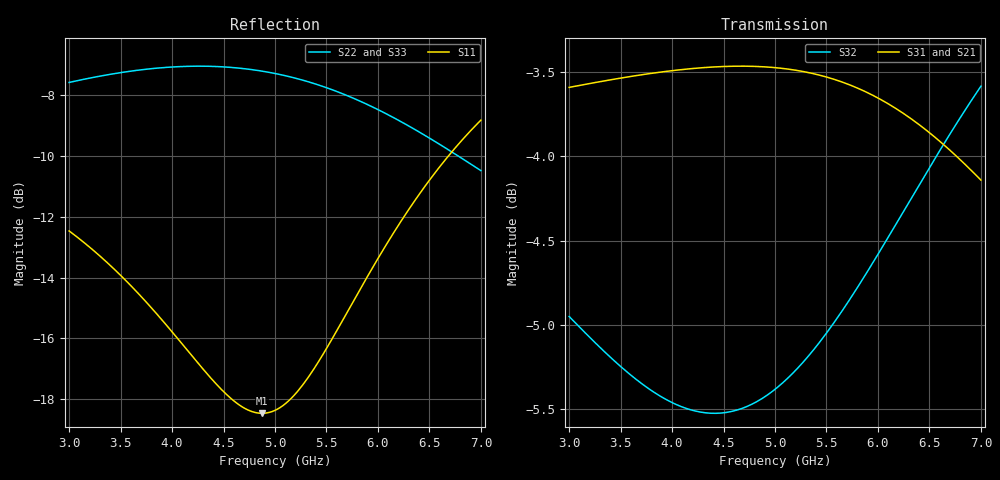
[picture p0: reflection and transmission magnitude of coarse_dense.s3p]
! yapnr rf: r1t-osh-w-w-nom, footprint re-simulated (optimization grid)
! spec sha256 1b39f7667ebf57d47b12464abbcca90e938fef1b750bc38b06a7eb75a527d4ee
! 3 ports renormalized to 50 ohm, e^(+jwt) convention
# GHz S RI R 50
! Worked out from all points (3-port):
!   161 points, 3 GHz to 7 GHz, reference 50 ohm
!   strongest paths, dB at 3 GHz, 4 GHz, 5 GHz, 6 GHz, 7 GHz:
!     S31: -3.6, -3.5, -3.5, -3.7, -4.1
!     S21: -3.6, -3.5, -3.5, -3.7, -4.1
!     S32: -4.9, -5.5, -5.4, -4.6, -3.6
!   lowest |S11| = -18.5 dB at 4.875 GHz (marker M1), VSWR 1.27, Z = 61.4 + j6.95 ohm
!   |S11| at or under -10 dB: start of sweep to 6.687 GHz
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3  -0.1305 0.199  -0.3197 -0.5796  -0.3197 -0.5796
   -0.3193 -0.579  0.1932 0.3695  -0.4309 -0.3664
   -0.3193 -0.579  -0.4309 -0.3664  0.1932 0.3695
3.475  -0.0665 0.1919  -0.5018 -0.4384  -0.5018 -0.4384
       -0.5005 -0.4381  0.3297 0.2791  -0.5146 -0.1871
       -0.5005 -0.4381  -0.5146 -0.1871  0.3297 0.2791
4  0.00464 0.1625  -0.6348 -0.2139  -0.6348 -0.2139
   -0.6332 -0.215  0.4262 0.1172  -0.5332 0.0157
   -0.6332 -0.215  -0.5332 0.0157  0.4262 0.1172
4.45  0.0613 0.1172  -0.671 0.0121  -0.671 0.0121
      -0.6705 0.00954  0.4402 -0.0465  -0.4986 0.1785
      -0.6705 0.00954  -0.4986 0.1785  0.4402 -0.0465
4.875  0.1056 0.0558  -0.6303 0.2276  -0.6303 0.2276
       -0.6318 0.2247  0.3904 -0.1922  -0.4296 0.3187
       -0.6318 0.2247  -0.4296 0.3187  0.3904 -0.1922
5  0.1158 0.0343  -0.6044 0.2875  -0.6044 0.2875
   -0.6066 0.2848  0.3653 -0.2294  -0.4027 0.3571
   -0.6066 0.2848  -0.4027 0.3571  0.3653 -0.2294
5.55  0.1373 -0.0776  -0.4239 0.509  -0.4239 0.509
      -0.4282 0.509  0.2154 -0.3441  -0.2457 0.5054
      -0.4282 0.509  -0.2457 0.5054  0.2154 -0.3441
6.025  0.113 -0.1863  -0.2036 0.6187  -0.2036 0.6187
       -0.2072 0.6222  0.0651 -0.3688  -0.0564 0.5891
       -0.2072 0.6222  -0.0564 0.5891  0.0651 -0.3688
6.525  0.035 -0.2898  0.0497 0.6328  0.0497 0.6328
       0.0496 0.6382  -0.0753 -0.3274  0.1864 0.5995
       0.0496 0.6382  0.1864 0.5995  -0.0753 -0.3274
7  -0.0834 -0.3518  0.2686 0.5538  0.2686 0.5538
   0.2722 0.5579  -0.1706 -0.2453  0.4246 0.5075
   0.2722 0.5579  0.4246 0.5075  -0.1706 -0.2453
